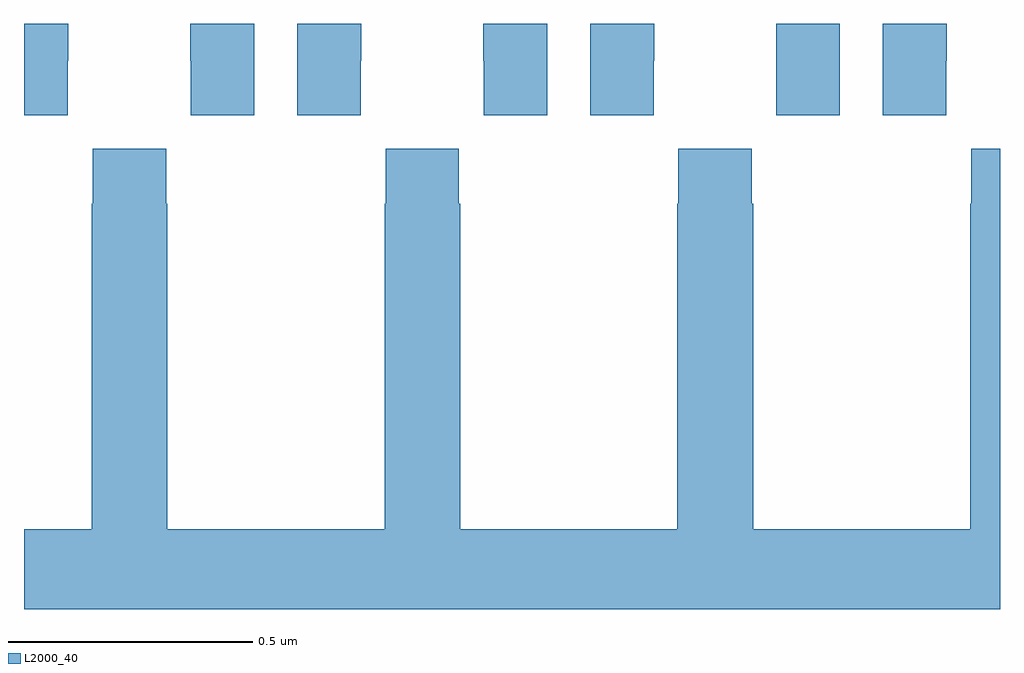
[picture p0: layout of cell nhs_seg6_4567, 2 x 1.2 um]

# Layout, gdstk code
import gdstk
lib = gdstk.Library(unit=1e-6, precision=1e-09)
def P(c, l, *ps):  # polygons
    for p in ps: c.add(gdstk.Polygon(p, *l))
L2000_40 = (2000, 40)

nhs_seg6_4567 = lib.new_cell('nhs_seg6_4567')
P(nhs_seg6_4567, L2000_40, [(171.09,984.424),(171.091,984.424),(171.091,984.5),(171,984.5),(171,984.312),(171.09,984.312)],
  [(171.472,984.5),(171.341,984.5),(171.341,984.424),(171.342,984.424),(171.342,984.312),(171.472,984.312)],
  [(171.69,984.424),(171.691,984.424),(171.691,984.5),(171.56,984.5),(171.56,984.312),(171.69,984.312)],
  [(172.072,984.5),(171.941,984.5),(171.941,984.424),(171.942,984.424),(171.942,984.312),(172.072,984.312)],
  [(172.29,984.424),(172.291,984.424),(172.291,984.5),(172.16,984.5),(172.16,984.312),(172.29,984.312)],
  [(172.672,984.5),(172.541,984.5),(172.541,984.424),(172.542,984.424),(172.542,984.312),(172.672,984.312)],
  [(172.89,984.424),(172.891,984.424),(172.891,984.5),(172.76,984.5),(172.76,984.312),(172.89,984.312)],
  [(173,984.244),(172.941,984.244),(172.941,984.131),(172.939,984.131),(172.939,983.464),(172.494,983.464),(172.494,984.131),(172.491,984.131),(172.491,984.244),(172.341,984.244),(172.341,984.131),(172.339,984.131),(172.339,983.464),(171.894,983.464),(171.894,984.131),(171.891,984.131),(171.891,984.244),(171.741,984.244),(171.741,984.131),(171.739,984.131),(171.739,983.464),(171.294,983.464),(171.294,984.131),(171.291,984.131),(171.291,984.244),(171.141,984.244),(171.141,984.131),(171.139,984.131),(171.139,983.464),(171,983.464),(171,983.3),(173,983.3)])

lib.write_gds('nhs_seg6_4567.gds')
